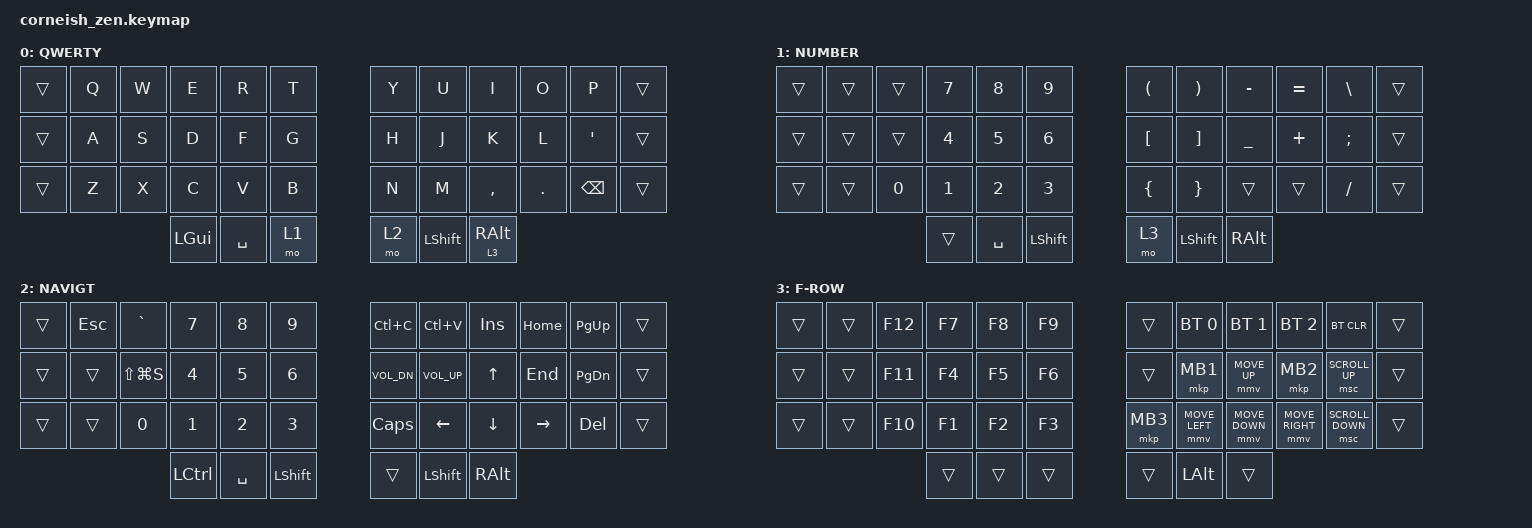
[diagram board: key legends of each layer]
#include <behaviors.dtsi>
#include <dt-bindings/zmk/bt.h>
#include <dt-bindings/zmk/keys.h>
#include <dt-bindings/zmk/mouse.h>

/ {
    chosen {
        zmk,matrix_transform = &default_transform;

        //zmk,matrix_transform = &five_column_transform;
    };
};

/ {
    combos {
        compatible = "zmk,combos";

        combo_enter {
            timeout-ms = <50>;
            key-positions = <32 33>;
            bindings = <&kp RET>;
        };

        combo_esc {
            timeout-ms = <50>;
            key-positions = <1 2>;
            bindings = <&kp ESC>;
        };

        combo_skctrl {
            timeout-ms = <50>;
            key-positions = <2 3>;
            bindings = <&sk LCTRL>;
        };

        combo_skalt {
            timeout-ms = <50>;
            key-positions = <14 15>;
            bindings = <&sk LALT>;
        };

        combo_skwin {
            timeout-ms = <50>;
            key-positions = <26 27>;
            bindings = <&sk LGUI>;
        };

        combo_tab {
            timeout-ms = <50>;
            key-positions = <13 14 15>;
            bindings = <&kp TAB>;
        };

        combo_alt {
            timeout-ms = <50>;
            key-positions = <20 21>;
            bindings = <&kp LALT>;
        };
    };
};

/ {
    keymap {
        compatible = "zmk,keymap";

        default_layer {
            label = "QWERTY";
            bindings = <
&trans  &kp Q  &kp W  &kp E     &kp R      &kp T    &kp Y  &kp U      &kp I       &kp O    &kp P     &trans
&trans  &kp A  &kp S  &kp D     &kp F      &kp G    &kp H  &kp J      &kp K       &kp L    &kp SQT   &trans
&trans  &kp Z  &kp X  &kp C     &kp V      &kp B    &kp N  &kp M      &kp COMMA   &kp DOT  &kp BSPC  &trans
                      &kp LGUI  &kp SPACE  &mo 1    &mo 2  &kp LSHFT  &lt 3 RALT
            >;
        };

        lower_layer {
            label = "NUMBER";
            bindings = <
&trans  &trans  &trans  &kp N7  &kp N8     &kp N9       &kp LPAR  &kp RPAR   &kp MINUS  &kp EQUAL  &kp BSLH  &trans
&trans  &trans  &trans  &kp N4  &kp N5     &kp N6       &kp LBKT  &kp RBKT   &kp UNDER  &kp PLUS   &kp SEMI  &trans
&trans  &trans  &kp N0  &kp N1  &kp N2     &kp N3       &kp LBRC  &kp RBRC   &trans     &trans     &kp FSLH  &trans
                        &trans  &kp SPACE  &kp LSHFT    &mo 3     &kp LSHFT  &kp RALT
            >;
        };

        raise_layer {
            label = "NAVIGT";
            bindings = <
&trans  &kp ESC  &kp GRAVE      &kp N7     &kp N8     &kp N9       &kp LC(C)     &kp LC(V)     &kp INS   &kp HOME   &kp PG_UP  &trans
&trans  &trans   &kp LS(LG(S))  &kp N4     &kp N5     &kp N6       &kp C_VOL_DN  &kp C_VOL_UP  &kp UP    &kp END    &kp PG_DN  &trans
&trans  &trans   &kp N0         &kp N1     &kp N2     &kp N3       &kp CAPS      &kp LEFT      &kp DOWN  &kp RIGHT  &kp DEL    &trans
                                &kp LCTRL  &kp SPACE  &kp LSHFT    &trans        &kp LSHFT     &kp RALT
            >;
        };

        mid_layer {
            label = "F-ROW";
            bindings = <
&trans  &trans  &kp F12  &kp F7  &kp F8  &kp F9    &trans    &bt BT_SEL 0    &bt BT_SEL 1    &bt BT_SEL 2     &bt BT_CLR        &trans
&trans  &trans  &kp F11  &kp F4  &kp F5  &kp F6    &trans    &mkp MB1        &mmv MOVE_UP    &mkp MB2         &msc SCROLL_UP    &trans
&trans  &trans  &kp F10  &kp F1  &kp F2  &kp F3    &mkp MB3  &mmv MOVE_LEFT  &mmv MOVE_DOWN  &mmv MOVE_RIGHT  &msc SCROLL_DOWN  &trans
                         &trans  &trans  &trans    &trans    &kp LALT        &trans
            >;
        };
    };
};
